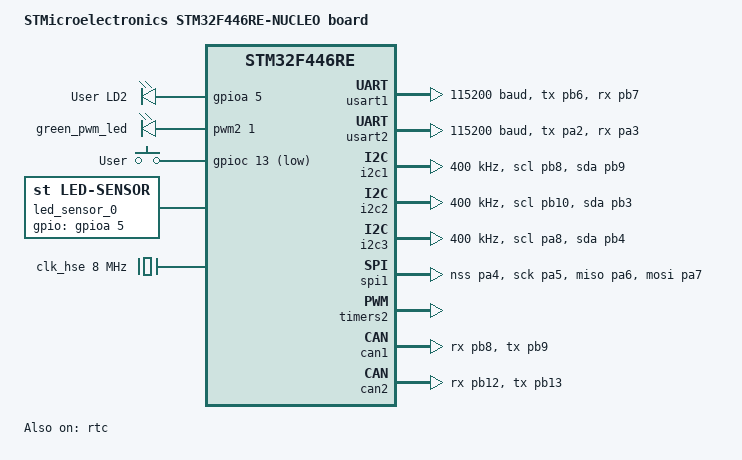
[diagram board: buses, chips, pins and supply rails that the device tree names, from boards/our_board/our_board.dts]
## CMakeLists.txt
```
cmake_minimum_required(VERSION 3.20.0)

set(BOARD_ROOT ${CMAKE_CURRENT_SOURCE_DIR})
set(ZEPHYR_EXTRA_MODULES ${CMAKE_CURRENT_SOURCE_DIR}/modules/led_sensor_module)

find_package(Zephyr REQUIRED)
project(my_zephyr_app)

target_sources(app PRIVATE src/main.cpp src/sensor_shell.c)
target_include_directories(app PRIVATE modules/led_sensor_module/include)
```

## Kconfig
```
mainmenu "Application Configuration"

menuconfig LED_SUBSYSTEM
	bool "LED Subsystem"
	default y

if LED_SUBSYSTEM

choice BLINK_SLEEP_TIME_CHOICE
	prompt "LED blink sleep time"
	default BLINK_SLEEP_TIME_1S
	help
	  Select LED blink period.

config BLINK_SLEEP_TIME_250MS
	bool "250ms"

config BLINK_SLEEP_TIME_500MS
	bool "500ms"

config BLINK_SLEEP_TIME_1S
	bool "1s (medium)"

config BLINK_SLEEP_TIME_2S
	bool "2s"

endchoice

# Task 3: Add a new Kconfig option for BLINK_SLEEP_TIME_MS
config BLINK_SLEEP_TIME_MS
	int
	default 250 if BLINK_SLEEP_TIME_250MS
	default 500 if BLINK_SLEEP_TIME_500MS
	default 1000 if BLINK_SLEEP_TIME_1S
	default 2000 if BLINK_SLEEP_TIME_2S

	# Task 4: Add a new Kconfig option for APP_HEARTBEAT_PERIOD_MS
config APP_HEARTBEAT_PERIOD_MS
	int "APP heartbeat period (ms)"
	default 500
	range 100 2000
	help
	  Heartbeat period for the application. This is the time between each heartbeat message sent by the application.

menuconfig LED_ADVANCED_SETTINGS
	bool "Advanced LED settings"
	default n

if LED_ADVANCED_SETTINGS

config LED_BRIGHTNESS
	int "LED brightness (0-100)"
	range 0 100
	default 100

config LED_FADE_DURATION_MS
	int "LED fade duration (ms)"
	range 0 5000
	default 500

menu "Expert settings"
	visible if LED_ADVANCED_SETTINGS

config LED_DEBUGGING
	bool "Enable LED debugging"
	default n

config LED_CUSTOM_BLINK_PATTERN
	bool "Custom blink pattern"
	default n

endmenu

endif

endif

rsource "modules/led_sensor_module/Kconfig"
source "Kconfig.zephyr"
```

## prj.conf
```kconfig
CONFIG_GPIO=y
CONFIG_LOG=y
CONFIG_SENSOR=y

CONFIG_SHELL_TAB_AUTOCOMPLETION=y
CONFIG_SHELL_HISTORY=y
CONFIG_SHELL=y
CONFIG_SHELL_CMDS=y
CONFIG_SHELL_TAB=y
```

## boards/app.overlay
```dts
/{
	leds{
		compatible = "gpio-leds";

			led0: led_0 {
			gpios = <&gpiob 0 GPIO_ACTIVE_HIGH>;
			label = "LED 0";
		};

	};

	aliases {
		led0 = &led0;
	};
};
```

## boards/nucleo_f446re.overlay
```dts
/ {
    led_sensor_0: led_sensor {
        compatible = "st,led-sensor";
        gpios = <&gpioa 5 GPIO_ACTIVE_HIGH>;
        status = "okay";
    };
};
```

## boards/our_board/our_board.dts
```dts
/*
 * Copyright (c) 2018 Philémon Jaermann
 *
 * SPDX-License-Identifier: Apache-2.0
 */

/dts-v1/;
#include <st/f4/stm32f446Xe.dtsi>
#include <st/f4/stm32f446r(c-e)tx-pinctrl.dtsi>
#include "arduino_r3_connector.dtsi"
#include "st_morpho_connector.dtsi"
#include <zephyr/dt-bindings/input/input-event-codes.h>

/ {
	model = "STMicroelectronics STM32F446RE-NUCLEO board";
	compatible = "st,stm32f446re-nucleo";

	chosen {
		zephyr,console = &usart2;
		zephyr,shell-uart = &usart2;
		zephyr,sram = &sram0;
		zephyr,flash = &flash0;
		zephyr,canbus = &can2;
	};

	leds: leds {
		compatible = "gpio-leds";

		green_led_2: led_2 {
			gpios = <&gpioa 5 GPIO_ACTIVE_HIGH>;
			label = "User LD2";
		};
	};

	pwmleds {
		compatible = "pwm-leds";

		green_pwm_led: green_pwm_led {
			pwms = <&pwm2 1 PWM_MSEC(20) PWM_POLARITY_NORMAL>;
		};
	};

	gpio_keys {
		compatible = "gpio-keys";

		user_button: button {
			label = "User";
			gpios = <&gpioc 13 GPIO_ACTIVE_LOW>;
			zephyr,code = <INPUT_KEY_0>;
		};
	};

	aliases {
		led0 = &green_led_2;
		pwm-led0 = &green_pwm_led;
		sw0 = &user_button;
	};

	led_sensor_0: led_sensor {
		compatible = "st,led-sensor";
		gpios = <&gpioa 5 GPIO_ACTIVE_HIGH>;
		status = "okay";
	};
};

&clk_lsi {
	status = "okay";
};

&clk_hse {
	hse-bypass;
	clock-frequency = <DT_FREQ_M(8)>; /* STLink 8MHz clock */
	status = "okay";
};

&pll {
	div-m = <8>;
	mul-n = <384>;
	div-p = <4>;
	div-q = <8>;
	clocks = <&clk_hse>;
	status = "okay";
};

&rcc {
	clocks = <&pll>;
	clock-frequency = <DT_FREQ_M(96)>;
	ahb-prescaler = <1>;
	apb1-prescaler = <2>;
	apb2-prescaler = <1>;
};

&usart1 {
	pinctrl-0 = <&usart1_tx_pb6 &usart1_rx_pb7>;
	pinctrl-names = "default";
	current-speed = <115200>;
	status = "okay";
};

&usart2 {
	pinctrl-0 = <&usart2_tx_pa2 &usart2_rx_pa3>;
	pinctrl-names = "default";
	current-speed = <115200>;
	status = "okay";
};

&i2c1 {
	pinctrl-0 = <&i2c1_scl_pb8 &i2c1_sda_pb9>;
	pinctrl-names = "default";
	status = "okay";
	clock-frequency = <I2C_BITRATE_FAST>;
};

&i2c2 {
	pinctrl-0 = <&i2c2_scl_pb10 &i2c2_sda_pb3>;
	pinctrl-names = "default";
	status = "okay";
	clock-frequency = <I2C_BITRATE_FAST>;
};

&i2c3 {
	pinctrl-0 = <&i2c3_scl_pa8 &i2c3_sda_pb4>;
	pinctrl-names = "default";
	status = "okay";
	clock-frequency = <I2C_BITRATE_FAST>;
};

&spi1 {
	pinctrl-0 = <&spi1_nss_pa4 &spi1_sck_pa5
		     &spi1_miso_pa6 &spi1_mosi_pa7>;
	pinctrl-names = "default";
	status = "okay";
};

&timers2 {
	status = "okay";

	pwm2: pwm {
		status = "okay";
		pinctrl-0 = <&tim2_ch1_pa5>;
		pinctrl-names = "default";
	};
};

&rtc {
	clocks = <&rcc STM32_CLOCK_BUS_APB1 0x10000000>,
		 <&rcc STM32_SRC_LSI RTC_SEL(2)>;
	status = "okay";
};

&backup_sram {
	status = "okay";
};

&can1 {
	/* CAUTION: PB8 and PB9 may conflict with same pins of I2C1 */
	pinctrl-0 = <&can1_rx_pb8 &can1_tx_pb9>;
	pinctrl-names = "default";
	status = "okay";
};

&can2 {
	pinctrl-0 = <&can2_rx_pb12 &can2_tx_pb13>;
	pinctrl-names = "default";
	status = "okay";
};

&flash0 {
	partitions {
		compatible = "fixed-partitions";
		#address-cells = <1>;
		#size-cells = <1>;

		boot_partition: partition@0 {
			label = "mcuboot";
			reg = <0x00000000 DT_SIZE_K(64)>;
			read-only;
		};

		/*
		 * The flash starting at 0x00010000 and ending at
		 * 0x0001ffff (sectors 16-31) is reserved for use
		 * by the application.
		 */
		storage_partition: partition@10000 {
			label = "storage";
			reg = <0x00010000 DT_SIZE_K(64)>;
		};

		slot0_partition: partition@20000 {
			label = "image-0";
			reg = <0x00020000 DT_SIZE_K(128)>;
		};

		slot1_partition: partition@40000 {
			label = "image-1";
			reg = <0x00040000 DT_SIZE_K(128)>;
		};

		scratch_partition: partition@60000 {
			label = "image-scratch";
			reg = <0x00060000 DT_SIZE_K(128)>;
		};
	};
};
```

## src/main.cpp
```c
#include <zephyr/kernel.h>
#include <zephyr/drivers/sensor.h>
#include <zephyr/device.h>
#include <zephyr/devicetree.h>
#include <led_sensor/led_sensor.h>

int main(void)
{
    const struct device *dev = DEVICE_DT_GET(DT_NODELABEL(led_sensor_0));

    if (!device_is_ready(dev)) {
        printk("LED Sensor is not ready\n");
        return -ENODEV;
    }

led_sensor_set_message(dev, "shell mode");
    printk("Sensor ready LED. Use the shell: sensor fetch/read/info\n");
    return 0;
}
```

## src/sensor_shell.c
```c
include <zephyr/shell/shell.h>
#include <zephyr/drivers/sensor.h>
#include <zephyr/device.h>

static const struct device *get_led_sensor(void)
{
    return DEVICE_DT_GET_ANY(st_led_sensor);
}

static int cmd_sensor_fetch(const struct shell *sh, size_t argc, char **argv)
{
    const struct device *dev = get_led_sensor();

    if (!device_is_ready(dev)) {
        shell_error(sh, "Sensor not available");
        return -ENODEV;
    }

    int ret = sensor_sample_fetch(dev);
    if (ret) {
        shell_error(sh, "fetch failed: %d", ret);
        return ret;
    }

    shell_print(sh, "fetch OK - LED ON");
    return 0;
}

static int cmd_sensor_read(const struct shell *sh, size_t argc, char **argv)
{
    const struct device *dev = get_led_sensor();

    if (!device_is_ready(dev)) {
        shell_error(sh, "Sensor not available");
        return -ENODEV;
    }

    struct sensor_value val;
    int ret = sensor_channel_get(dev, SENSOR_CHAN_ALL, &val);
    if (ret) {
        shell_error(sh, "channel_get failed: %d", ret);
        return ret;
    }

    shell_print(sh, "read OK - LED OFF, val=%d.%06d", val.val1, val.val2);
    return 0;
}

static int cmd_sensor_info(const struct shell *sh, size_t argc, char **argv)
{
    const struct device *dev = get_led_sensor();

    shell_print(sh, "Device name : %s", dev->name);
    shell_print(sh, "Device ready: %s", device_is_ready(dev) ? "YES" : "NO");
    return 0;
}

SHELL_STATIC_SUBCMD_SET_CREATE(sub_sensor,
    SHELL_CMD(fetch, NULL, "Fetch sensor sample (LED ON)", cmd_sensor_fetch),
    SHELL_CMD(read,  NULL, "Read sensor channel (LED OFF)", cmd_sensor_read),
    SHELL_CMD(info,  NULL, "Print device info", cmd_sensor_info),
    SHELL_SUBCMD_SET_END
);

SHELL_CMD_REGISTER(sensor, &sub_sensor, "LED sensor commands", NULL);
```
